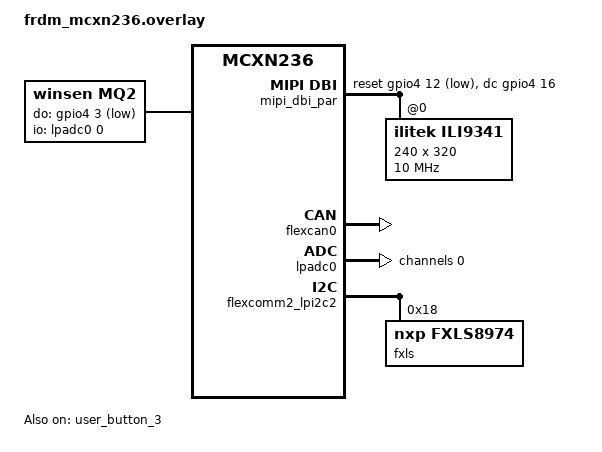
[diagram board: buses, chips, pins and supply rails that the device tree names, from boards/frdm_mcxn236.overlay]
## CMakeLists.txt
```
cmake_minimum_required(VERSION 3.20.0)
find_package(Zephyr REQUIRED HINTS $ENV{ZEPHYR_BASE})
project(sensor-hub)

target_sources(app PRIVATE src/main.cpp)

add_subdirectory(src/device_status)
add_subdirectory(src/can_protocol)
add_subdirectory(src/can_service)
add_subdirectory(src/ui)
add_subdirectory(drivers/sensor/mq)
target_link_libraries(app PRIVATE ui_manager device_status can_service mq)
```

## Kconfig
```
rsource "src/ui/Kconfig.ui"
rsource "src/can_service/Kconfig.can_service"
rsource "drivers/sensor/mq/Kconfig"
source "Kconfig.zephyr"
```

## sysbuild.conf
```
SB_CONFIG_BOOTLOADER_MCUBOOT=y
SB_CONFIG_BOOT_SIGNATURE_TYPE_ECDSA_P256=y
SB_CONFIG_BOOT_SIGNATURE_KEY_FILE="${WEST_TOPDIR}/frdm-mcxn236-sensor-hub/keys/sensor-hub-p256.pem"
```

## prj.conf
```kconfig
# Logging
CONFIG_LOG=y

# Input (SW2/SW3 gpio-keys)
CONFIG_INPUT=y

# Display
CONFIG_DISPLAY=y
# MIPI_DBI is auto-enabled by the driver; suppress NCS's WARN_EXPERIMENTAL to avoid build abort
CONFIG_WARN_EXPERIMENTAL=n

# LVGL
CONFIG_LVGL=y
CONFIG_LV_COLOR_DEPTH_16=y
CONFIG_LV_COLOR_16_SWAP=y
# Default (2048) is far too small for the SquareLine screens (theme + components +
# fonts); the stock LVGL demos sample needed ~58KB for a similar widget count
CONFIG_LV_Z_MEM_POOL_SIZE=28672

CONFIG_EVENTS=y

# Input (gpio-keys) processing runs on its own thread, separate from the
# system workqueue that submits raw events to it, and defaults to
# K_LOWEST_APPLICATION_THREAD_PRIO -- far below CONFIG_UI_THREAD_PRIORITY (5).
# The submit side never blocks (K_NO_WAIT), so under a burst of presses, if
# the (higher-priority) UI thread doesn't yield long/often enough for input's
# thread to drain the queue, new events are silently dropped before they ever
# reach ui_manager_input_cb -- looks exactly like a dead button, not a queue
# overflow. Override it above the UI thread so it always preempts UI work.
CONFIG_INPUT_THREAD_PRIORITY_OVERRIDE=y
CONFIG_INPUT_THREAD_PRIORITY=4

# Enable MQ custom driver
CONFIG_MQ=y

CONFIG_FXLS8974=y
CONFIG_CAN=y

# MCUmgr/SMP over the console UART (LPUART4, MCU-Link VCOM), shared with logging
CONFIG_MCUMGR=y
CONFIG_NET_BUF=y
CONFIG_ZCBOR=y
CONFIG_CRC=y
CONFIG_BASE64=y
CONFIG_FLASH=y
CONFIG_FLASH_MAP=y
CONFIG_STREAM_FLASH=y
CONFIG_IMG_MANAGER=y
CONFIG_MCUMGR_GRP_IMG=y
CONFIG_MCUMGR_GRP_OS=y
CONFIG_UART_CONSOLE_MCUMGR=y
CONFIG_UART_MCUMGR=y
CONFIG_MCUMGR_TRANSPORT_UART=y
CONFIG_SYSTEM_WORKQUEUE_STACK_SIZE=2304
```

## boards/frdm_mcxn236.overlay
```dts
#include <zephyr/dt-bindings/display/panel.h>
#include <zephyr/dt-bindings/adc/adc.h>
#include <zephyr/dt-bindings/adc/mcux-lpadc.h>
#include <zephyr/dt-bindings/regulator/nxp_vref.h>
#include <nxp/mcx/MCXN236VDF-pinctrl.h>

#include "../dts/partitions.dtsi"

&gpio2 {
  status = "okay";
};

&gpio3 {
  status = "okay";
};

/* SW2 (user_button_2) is already enabled at board level for wake/sleep */
&user_button_3 {
  status = "okay";
};

/* Disable UART2 bus that claims PIO4_2 and PIO4_3 */
&flexcomm2_lpuart2 {
  status = "disabled";
};

/* Map PIO4_2 to ADC0_4 */
&pinctrl {
  pinmux_lpadc0_mq: pinmux_lpadc0_mq {
    group0 {
      pinmux = <ADC0_A4_PIO4_2>;
      slew-rate = "fast";
      drive-strength = "low";
    };
  };
};

&pinctrl {
  pinmux_flexcan0: pinmux_flexcan0 {
    group0 {
      pinmux = <CAN0_TXD_PIO1_10>, <CAN0_RXD_PIO1_11>;
      slew-rate = "fast";
      drive-strength = "low";
      input-enable;
    };
  };
};

&flexcan0 {
  status = "okay";
  pinctrl-0 = <&pinmux_flexcan0>;
  pinctrl-names = "default";
};

&flexcan1 {
  status = "disabled";
};

/* External reference, high-power mode -- matches the board's own ADC sample overlay */
&vref {
  regulator-initial-mode = <NXP_VREF_MODE_HIGH_POWER>;
};

/*
 * Use the default LPADC0 configuration + the new LPADC0_MQ pinctrl group,
 * plus a channel node for the MQ3's analog input. ADC_DT_SPEC_INST_GET()
 * (used in mq.c) only fills in .resolution/.oversampling/.channel_cfg from
 * a channel@N child node like this one -- without it those fields are left
 * unset, which is what caused the "initializer element is not constant"
 * build error.
 */
&lpadc0 {
  pinctrl-0 = <&pinmux_lpadc0>, <&pinmux_lpadc0_mq>;

  #address-cells = <1>;
  #size-cells = <0>;

  channel@0 {
    reg = <0>;
    zephyr,gain = "ADC_GAIN_1";
    zephyr,reference = "ADC_REF_EXTERNAL1";
    zephyr,vref-mv = <1800>;
    zephyr,acquisition-time = <ADC_ACQ_TIME_DEFAULT>;
    zephyr,resolution = <12>;
    zephyr,input-positive = <MCUX_LPADC_CH4A>; /* P4_2 = ADC0_A4, per pinmux_lpadc0_mq above */
  };
};

/ {
  chosen {
    zephyr,display = &ili9341;
  };

  mipi_dbi_par: mipi-dbi-parallel {
    compatible = "zephyr,mipi-dbi-bitbang";
    /*
     * lcdwiki/MCUFRIEND 2.4" ILI9341 shield (nRF5340 DK Arduino header):
     *   A0=P0.04 → RD      A1=P0.05 → WR
     *   A2=P0.06 → RS/DC   A3=P0.07 → CS (active-low)
     *   A4=P0.25 → RST     (active-low)
     */
    reset-gpios = <&gpio4 12  GPIO_ACTIVE_LOW>;   /* A4 = RST   */
    cs-gpios    = <&gpio4 17  GPIO_ACTIVE_LOW>;   /* A3 = CS    */
    dc-gpios    = <&gpio4 16  GPIO_ACTIVE_HIGH>;  /* A2 = RS/DC */
    wr-gpios    = <&gpio4 15  GPIO_ACTIVE_HIGH>;  /* A1 = WR    */
    rd-gpios    = <&gpio4 6   GPIO_ACTIVE_HIGH>;  /* A0 = RD    */
    /*
     * MCUFRIEND wiring: DB0→D8, DB1→D9, DB2→D2 … DB7→D7
     * (data-gpios[i] → bit i of the byte → DBi of controller)
     *   DB0=D8=P0.23  DB1=D9=P3.14  DB2=D2=P2.0  DB3=D3=P3.12
     *   DB4=D4=P0.21  DB5=D5=P2.7   DB6=D6=P3.17 DB7=D7=P0.22
     */
    data-gpios  = <&gpio0 23 GPIO_ACTIVE_HIGH>,   /* DB0 = D8 */
                  <&gpio3 14 GPIO_ACTIVE_HIGH>,   /* DB1 = D9 */
                  <&gpio2  0 GPIO_ACTIVE_HIGH>,   /* DB2 = D2 */
                  <&gpio3 12 GPIO_ACTIVE_HIGH>,   /* DB3 = D3 */
                  <&gpio0 21 GPIO_ACTIVE_HIGH>,   /* DB4 = D4 */
                  <&gpio2  7 GPIO_ACTIVE_HIGH>,   /* DB5 = D5 */
                  <&gpio3 17 GPIO_ACTIVE_HIGH>,   /* DB6 = D6 */
                  <&gpio0 22 GPIO_ACTIVE_HIGH>;   /* DB7 = D7 */
    #address-cells = <1>;
    #size-cells    = <0>;

    ili9341: ili9341@0 {
      compatible        = "ilitek,ili9341";
      reg               = <0>;
      mipi-mode         = "MIPI_DBI_MODE_8080_BUS_8_BIT";
      mipi-max-frequency = <10000000>;
      pixel-format      = <PANEL_PIXEL_FORMAT_RGB_565X>;
      width             = <240>;
      height            = <320>;
      rotation          = <90>;   /* 0 | 90 | 180 | 270 CW — adjust to match physical mount */
      h-mirror;
    };
  };

  mq2: mq2 {
    compatible            = "winsen,mq2";
    io-channels           = <&lpadc0 0>;
    do-gpios              = <&gpio4 3 GPIO_ACTIVE_LOW>;
    load-resistance-ohms  = <1000>;
    ro-clean-air-ohms     = <5800>;
  };
};

/* FXLS8974 accelerometer on I2C2 */
&flexcomm2_lpi2c2 {
  status = "okay";

  fxls: fxls@18 {
    compatible = "nxp,fxls8974";
    reg = <0x18>;
  };
};
```

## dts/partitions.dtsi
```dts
/* Shared by the app and MCUboot (via sysbuild/mcuboot.overlay) - they must agree */
/delete-node/ &slot0_partition;
/delete-node/ &slot1_partition;
/delete-node/ &storage_partition;

&flash {
	partitions {
		slot0_partition: partition@14000 {
			label = "image-0";
			reg = <0x00014000 DT_SIZE_K(472)>;
		};

		slot1_partition: partition@8a000 {
			label = "image-1";
			reg = <0x0008a000 DT_SIZE_K(472)>;
		};
	};
};
```

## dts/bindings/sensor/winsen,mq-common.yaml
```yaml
# SPDX-License-Identifier: Apache-2.0

description: MQ Sensor family

include: sensor-device.yaml

properties:
  io-channels:
    type: phandle-array
    required: true
    description: |
      ADC channel that will perform measurement

  do-gpios:
    type: phandle-array
    required: true
    description: |
      D0 comparator output — trips against the module's onboard
      potentiometer threshold. Read as a plain GPIO, not an ADC channel.

  load-resistance-ohms:
    type: int
    required: true
    description: |
      Module's RL, fixed by its onboard resistor

  ro-clean-air-ohms:
    type: int
    required: true
    description: |
      Sensor's calibration resistance

  power-supply-microvolts:
    type: int
    default: 5000000
    description: |
      Supply voltage for the sensor heater
```

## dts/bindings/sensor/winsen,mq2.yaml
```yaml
description: Winsen MQ-2 Methane, Butane, LPG, smoke
compatible: "winsen,mq2"
include: winsen,mq-common.yaml
```

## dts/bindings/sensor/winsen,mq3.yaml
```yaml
description: Winsen MQ-3 Alcohol, Ethanol, smoke sensor
compatible: "winsen,mq3"
include: winsen,mq-common.yaml
```

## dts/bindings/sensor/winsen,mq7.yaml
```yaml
description: Winsen MQ-7 CO sensor
compatible: "winsen,mq7"
include: winsen,mq-common.yaml
```

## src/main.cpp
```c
#include <zephyr/kernel.h>
#include <zephyr/logging/log.h>
#include <zephyr/drivers/gpio.h>
#include <zephyr/drivers/sensor.h>
#include <zephyr/app_version.h>

#include "device_status.h"
#include "can_service.h"
#include "ui_manager.h"
#include "mq.h"
#if defined(CONFIG_TILT_SIM)
#include "tilt_sim.h"
#endif
#if defined(CONFIG_ENV_SIM)
#include "env_sim.h"
#endif

LOG_MODULE_REGISTER(main, LOG_LEVEL_INF);

/* k_work to update device's uptime */

struct k_work_delayable uptime_work;
static void device_status_uptime_update(struct k_work *work);

/* k_work to update environment data */

#if DT_NODE_EXISTS(DT_NODELABEL(mq2))
static const struct device *mq2_dev = DEVICE_DT_GET(DT_NODELABEL(mq2));
static struct k_work_delayable mq2_poll_work;

#define MQ2_WORK_STACK_SIZE  512
#define MQ2_WORK_PRIORITY  1

K_THREAD_STACK_DEFINE(mq2_stack, MQ2_WORK_STACK_SIZE);

static struct k_work_q mq2_work_queue;
static const struct k_work_queue_config mq2_work_queue_cfg = {
  .name = "mq2 work queue",
};

static void mq2_poll_update(struct k_work *work)
{
  int ret = sensor_sample_fetch(mq2_dev);
  if (ret != 0) {
    LOG_ERR("MQ-2 sample fetch failed: %d", ret);
    device_status_set_environment(0.0f, 0.0f, DEVICE_STATUS_ERROR);
  } else {
    struct sensor_value smoke;
    struct sensor_value voltage;

    if (sensor_channel_get(mq2_dev, (enum sensor_channel)SENSOR_CHAN_MQ_SMOKE, &smoke) == 0 &&
        sensor_channel_get(mq2_dev, (enum sensor_channel)SENSOR_CHAN_MQ_MV, &voltage) == 0) {
      // Update device_status to be read by screen
      float smoke_f = sensor_value_to_float(&smoke);
      float voltage_f = sensor_value_to_float(&voltage);
      LOG_DBG("smoke = %.2f ppm, voltage = %.3f", smoke_f, voltage_f);
      // Match error code according the level thresholds
      if (smoke_f < 150.0f) {
        device_status_set_environment(smoke_f, voltage_f, DEVICE_STATUS_OK);
      } else if (smoke_f < 300.0f) {
        device_status_set_environment(smoke_f, voltage_f, DEVICE_STATUS_WARN);
      } else {
        device_status_set_environment(smoke_f, voltage_f, DEVICE_STATUS_ERROR);
      }
    } else {
      LOG_ERR("MQ-2 channel_get failed");
      device_status_set_environment(0.0f, 0.0f, DEVICE_STATUS_ERROR);
    }
  }
  k_work_reschedule(&mq2_poll_work, K_SECONDS(1));
}
#endif

/* k_work to update tilt data */

#if DT_NODE_EXISTS(DT_NODELABEL(fxls))
static const struct device *fxls = DEVICE_DT_GET(DT_NODELABEL(fxls));
static struct k_work_delayable fxls_poll_work;

#define FXLS_WORK_STACK_SIZE  512
#define FXLS_WORK_PRIORITY  1

K_THREAD_STACK_DEFINE(fxls_stack, FXLS_WORK_STACK_SIZE);

static struct k_work_q fxls_work_queue;
static const struct k_work_queue_config fxls_work_queue_cfg = {
  .name = "fxls work queue",
};

static void fxls_poll_update(struct k_work *work)
{
  int ret = sensor_sample_fetch(fxls);
  if (ret != 0) {
    LOG_ERR("FXLS sample_fetch failed: %d", ret);
    device_status_set_tilt(0.0f, 0.0f, 0.0f, DEVICE_STATUS_ERROR);
  } else {
    struct sensor_value raw_x, raw_y, raw_z;

    if (sensor_channel_get(fxls, SENSOR_CHAN_ACCEL_X, &raw_x) == 0 &&
        sensor_channel_get(fxls, SENSOR_CHAN_ACCEL_Y, &raw_y) == 0 &&
        sensor_channel_get(fxls, SENSOR_CHAN_ACCEL_Z, &raw_z) == 0) {
      // Convert to g values instead of m/s2
      float x = sensor_ms2_to_mg(&raw_x) / 1000.0f;
      float y = sensor_ms2_to_mg(&raw_y) / 1000.0f;
      float z = sensor_ms2_to_mg(&raw_z) / 1000.0f;

      device_status_set_tilt(x, y, z, DEVICE_STATUS_OK);
      LOG_DBG("x = %.2f | y = %.2f | z = %.2f", x, y, z);
    } else {
      LOG_ERR("FXLS channel_get failed");
      device_status_set_tilt(0.0f, 0.0f, 0.0f, DEVICE_STATUS_ERROR);
    }
  }
  k_work_reschedule(&fxls_poll_work, K_MSEC(100));
}

#endif

int main(void)
{
  const struct gpio_dt_spec btn = GPIO_DT_SPEC_GET(DT_ALIAS(sw0), gpios);
  if(!gpio_is_ready_dt(&btn)) {
    LOG_ERR("SW2 not ready");
  }
  if(gpio_pin_configure_dt(&btn, GPIO_INPUT)) {
    LOG_ERR("SW2 not configured");
  }

  device_status_init();
  ui_manager_init();

  k_work_init_delayable(&uptime_work, device_status_uptime_update);
  k_work_reschedule(&uptime_work, K_SECONDS(1));

#if DT_NODE_EXISTS(DT_NODELABEL(mq2))
  if (!device_is_ready(mq2_dev)) {
    LOG_ERR("MQ-2 device not ready");
  } else {
    device_status_set_environment_identity(mq2_dev->name, DT_IO_CHANNELS_INPUT(DT_NODELABEL(mq2)));
    k_work_queue_init(&mq2_work_queue);
    k_work_queue_start(
      &mq2_work_queue, mq2_stack,
      K_THREAD_STACK_SIZEOF(mq2_stack), MQ2_WORK_PRIORITY,
      &mq2_work_queue_cfg
    );
    k_work_init_delayable(&mq2_poll_work, mq2_poll_update);
    k_work_reschedule_for_queue(&mq2_work_queue, &mq2_poll_work, K_SECONDS(1));
  }
#endif

#if DT_NODE_EXISTS(DT_NODELABEL(fxls))
  if (!device_is_ready(fxls)) {
    LOG_ERR("FXLS device not ready");
  } else {
    k_work_queue_init(&fxls_work_queue);
    k_work_queue_start(
      &fxls_work_queue, fxls_stack,
      K_THREAD_STACK_SIZEOF(fxls_stack), FXLS_WORK_PRIORITY,
      &fxls_work_queue_cfg
    );
    k_work_init_delayable(&fxls_poll_work, fxls_poll_update);
    k_work_reschedule_for_queue(&fxls_work_queue, &fxls_poll_work, K_MSEC(100));
  }
#endif

  // Logs its own failure and reports it as a CAN fault on screen
  int ret = can_service_start();
  if (ret != 0) {
    return ret;
  }
  return 0;
}

/**
 * @brief Work handler called every second to update the device uptime
 */
static void device_status_uptime_update(struct k_work *work)
{
  uint32_t uptime_s = k_uptime_get() / 1000;
  device_status_set_uptime(uptime_s);
  k_work_reschedule(&uptime_work, K_SECONDS(1));
}

#if DT_NODE_HAS_STATUS_OKAY(DT_NODELABEL(flexcan0))
#include <zephyr/init.h>
#include <fsl_clock.h>

static int flexcan0_clock_init(void)
{
  CLOCK_SetClkDiv(kCLOCK_DivFlexcan0Clk, 3U);
  CLOCK_AttachClk(kPLL0_to_FLEXCAN0);
  return 0;
}
SYS_INIT(flexcan0_clock_init, PRE_KERNEL_1, 0);
#endif
```
